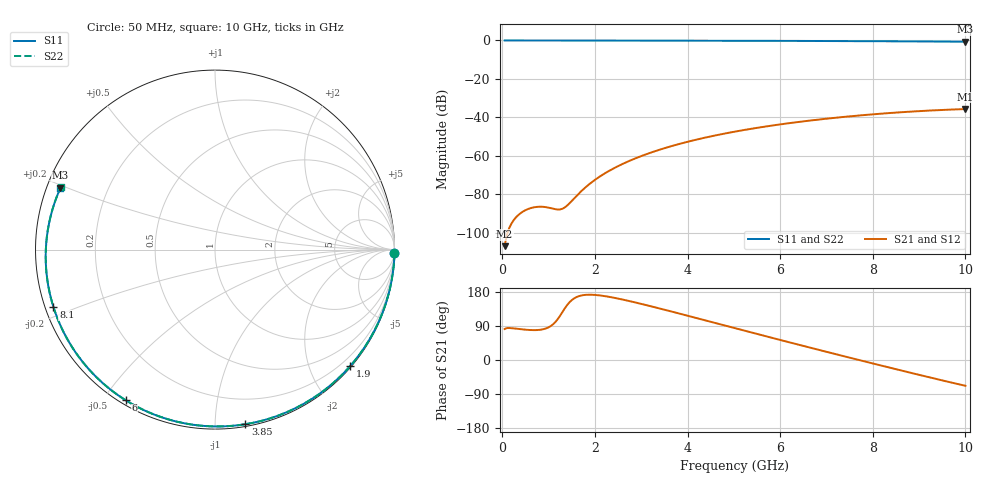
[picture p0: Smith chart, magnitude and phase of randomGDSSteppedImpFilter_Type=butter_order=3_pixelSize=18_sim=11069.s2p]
! freq	dB(S11)	phase(S11)	dB(S12)	phase(S12)
!  dB(S21)	phase(S21)	dB(S22)	phase(S22)
!S-par simulation data
#  GHz  S  DB  R 50
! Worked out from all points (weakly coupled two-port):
!   200 points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, 50 MHz to 10 GHz, reference 50 ohm
!   highest |S21| = -35.69 dB at 10 GHz (marker M1); lowest = -107.0 dB at 50 MHz (marker M2)
!   lowest |S11| = -0.7 dB at 10 GHz (marker M3), VSWR 26.47, Z = 1.96 + j9.62 ohm
!   |S11| at or under -10 dB: nowhere
!   |S22| runs from -0.7 to 0.0 dB; largest |S21 - S12| = 0
!   S11 on the Smith chart (normalised r, x): 50 MHz: open; 1.9 GHz: 0.02, -2.69; 3.85 GHz: 0.02, -1.19; 6 GHz: 0.02, -0.57; 8.1 GHz: 0.02, -0.17; 10 GHz: 0.04, +0.19
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0.05  -0.00 -1.1  -107.02 81.7  -107.02 81.7  -0.00 -1.1
0.8  -0.02 -17.4  -86.50 79.5  -86.50 79.5  -0.02 -17.4
1.6  -0.04 -34.5  -80.94 165.9  -80.94 165.9  -0.04 -34.5
1.65  -0.05 -35.5  -79.72 168.3  -79.72 168.3  -0.05 -35.5
1.75  -0.05 -37.6  -77.42 171.2  -77.42 171.2  -0.05 -37.6
1.9  -0.05 -40.8  -74.35 172.3  -74.35 172.3  -0.05 -40.8
2.2  -0.06 -47.0  -69.35 168.8  -69.35 168.8  -0.06 -47.0
2.55  -0.07 -54.2  -64.79 160.8  -64.79 160.8  -0.07 -54.2
2.95  -0.08 -62.3  -60.62 149.6  -60.62 149.6  -0.08 -62.3
3.4  -0.09 -71.3  -56.81 135.9  -56.81 135.9  -0.09 -71.3
3.85  -0.11 -80.1  -53.66 121.7  -53.66 121.7  -0.11 -80.1
4.45  -0.13 -91.6  -50.18 102.5  -50.18 102.5  -0.13 -91.6
5.05  -0.16 -103.0  -47.31 83.2  -47.31 83.2  -0.16 -103.0
6  -0.21 -120.6  -43.67 52.9  -43.67 52.9  -0.21 -120.7
6.7  -0.26 -133.6  -41.51 30.9  -41.51 30.9  -0.26 -133.7
7.4  -0.33 -146.8  -39.72 9.2  -39.72 9.2  -0.33 -146.9
8.1  -0.40 -160.4  -38.24 -12.2  -38.24 -12.2  -0.40 -160.5
8.35  -0.43 -165.4  -37.78 -19.7  -37.78 -19.7  -0.43 -165.5
8.8  -0.48 -174.7  -37.05 -33.2  -37.05 -33.2  -0.48 -174.8
9.2  -0.54 176.7  -36.50 -45.1  -36.50 -45.1  -0.54 176.6
9.6  -0.59 167.7  -36.05 -56.7  -36.05 -56.7  -0.59 167.6
10  -0.66 158.2  -35.69 -68.1  -35.69 -68.1  -0.66 158.1
